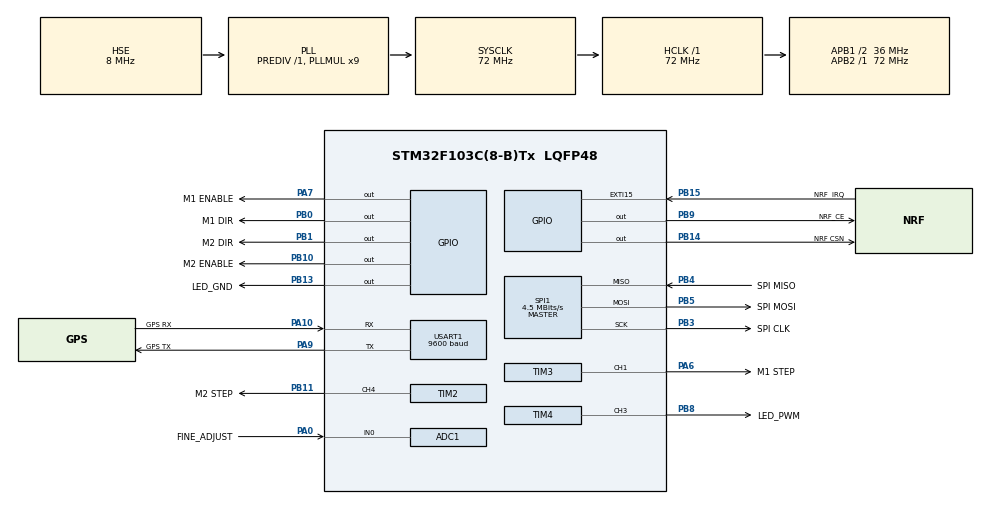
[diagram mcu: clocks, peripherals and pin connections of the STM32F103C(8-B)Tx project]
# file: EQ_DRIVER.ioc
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ADC1.Channel-10\#ChannelRegularConversion=ADC_CHANNEL_0
ADC1.Channel-11\#ChannelRegularConversion=ADC_CHANNEL_0
ADC1.Channel-12\#ChannelRegularConversion=ADC_CHANNEL_0
ADC1.Channel-13\#ChannelRegularConversion=ADC_CHANNEL_0
ADC1.Channel-14\#ChannelRegularConversion=ADC_CHANNEL_0
ADC1.Channel-15\#ChannelRegularConversion=ADC_CHANNEL_0
ADC1.Channel-16\#ChannelRegularConversion=ADC_CHANNEL_0
ADC1.Channel-17\#ChannelRegularConversion=ADC_CHANNEL_0
ADC1.Channel-18\#ChannelRegularConversion=ADC_CHANNEL_0
ADC1.Channel-19\#ChannelRegularConversion=ADC_CHANNEL_0
ADC1.Channel-20\#ChannelRegularConversion=ADC_CHANNEL_0
ADC1.Channel-5\#ChannelRegularConversion=ADC_CHANNEL_0
ADC1.Channel-6\#ChannelRegularConversion=ADC_CHANNEL_0
ADC1.Channel-7\#ChannelRegularConversion=ADC_CHANNEL_0
ADC1.Channel-8\#ChannelRegularConversion=ADC_CHANNEL_0
ADC1.Channel-9\#ChannelRegularConversion=ADC_CHANNEL_0
ADC1.ContinuousConvMode=ENABLE
ADC1.NbrOfConversion=16
ADC1.NbrOfConversionFlag=1
ADC1.Rank-10\#ChannelRegularConversion=6
ADC1.Rank-11\#ChannelRegularConversion=7
ADC1.Rank-12\#ChannelRegularConversion=8
ADC1.Rank-13\#ChannelRegularConversion=9
ADC1.Rank-14\#ChannelRegularConversion=10
ADC1.Rank-15\#ChannelRegularConversion=11
ADC1.Rank-16\#ChannelRegularConversion=12
ADC1.Rank-17\#ChannelRegularConversion=13
ADC1.Rank-18\#ChannelRegularConversion=14
ADC1.Rank-19\#ChannelRegularConversion=15
ADC1.Rank-20\#ChannelRegularConversion=16
ADC1.Rank-5\#ChannelRegularConversion=1
ADC1.Rank-6\#ChannelRegularConversion=2
ADC1.Rank-7\#ChannelRegularConversion=3
ADC1.Rank-8\#ChannelRegularConversion=4
ADC1.Rank-9\#ChannelRegularConversion=5
ADC1.SamplingTime-10\#ChannelRegularConversion=ADC_SAMPLETIME_1CYCLE_5
ADC1.SamplingTime-11\#ChannelRegularConversion=ADC_SAMPLETIME_1CYCLE_5
ADC1.SamplingTime-12\#ChannelRegularConversion=ADC_SAMPLETIME_1CYCLE_5
ADC1.SamplingTime-13\#ChannelRegularConversion=ADC_SAMPLETIME_1CYCLE_5
ADC1.SamplingTime-14\#ChannelRegularConversion=ADC_SAMPLETIME_1CYCLE_5
ADC1.SamplingTime-15\#ChannelRegularConversion=ADC_SAMPLETIME_1CYCLE_5
ADC1.SamplingTime-16\#ChannelRegularConversion=ADC_SAMPLETIME_1CYCLE_5
ADC1.SamplingTime-17\#ChannelRegularConversion=ADC_SAMPLETIME_1CYCLE_5
ADC1.SamplingTime-18\#ChannelRegularConversion=ADC_SAMPLETIME_1CYCLE_5
ADC1.SamplingTime-19\#ChannelRegularConversion=ADC_SAMPLETIME_1CYCLE_5
ADC1.SamplingTime-20\#ChannelRegularConversion=ADC_SAMPLETIME_1CYCLE_5
ADC1.SamplingTime-5\#ChannelRegularConversion=ADC_SAMPLETIME_1CYCLE_5
ADC1.SamplingTime-6\#ChannelRegularConversion=ADC_SAMPLETIME_1CYCLE_5
ADC1.SamplingTime-7\#ChannelRegularConversion=ADC_SAMPLETIME_1CYCLE_5
ADC1.SamplingTime-8\#ChannelRegularConversion=ADC_SAMPLETIME_1CYCLE_5
ADC1.SamplingTime-9\#ChannelRegularConversion=ADC_SAMPLETIME_1CYCLE_5
ADC1.master=1
Mcu.Family=STM32F1
Mcu.Name=STM32F103C(8-B)Tx
Mcu.Package=LQFP48
NVIC.EXTI15_10_IRQn=true\:0\:0\:false\:false\:true\:true\:true\:true
NVIC.PriorityGroup=NVIC_PRIORITYGROUP_4
NVIC.RCC_IRQn=true\:0\:0\:false\:false\:true\:true\:false\:true
NVIC.TIM1_UP_IRQn=true\:0\:0\:false\:false\:true\:false\:true\:true
NVIC.TIM2_IRQn=true\:0\:0\:false\:false\:true\:true\:true\:true
NVIC.TIM3_IRQn=true\:0\:0\:false\:false\:true\:true\:true\:true
NVIC.TimeBase=TIM1_UP_IRQn
NVIC.TimeBaseIP=TIM1
NVIC.USART1_IRQn=true\:0\:0\:false\:false\:true\:true\:true\:true
PA0-WKUP.GPIO_Label=FINE_ADJUST
PA0-WKUP.Signal=ADCx_IN0
PA10.GPIO_Label=GPS RX
PA10.Mode=Asynchronous
PA10.Signal=USART1_RX
PA13.GPIO_Label=SWDIO
PA13.Mode=Serial_Wire
PA13.Signal=SYS_JTMS-SWDIO
PA14.GPIO_Label=SWCLK
PA14.Mode=Serial_Wire
PA14.Signal=SYS_JTCK-SWCLK
PA6.GPIO_Label=M1 STEP
PA6.Signal=S_TIM3_CH1
PA7.GPIO_Label=M1 ENABLE
PA7.GPIO_PuPd=GPIO_NOPULL
PA7.Signal=GPIO_Output
PA9.GPIO_Label=GPS TX
PA9.Mode=Asynchronous
PA9.Signal=USART1_TX
PB0.GPIO_Label=M1 DIR
PB0.Signal=GPIO_Output
PB1.GPIO_Label=M2 DIR
PB1.Signal=GPIO_Output
PB10.GPIO_Label=M2 ENABLE
PB10.Signal=GPIO_Output
PB11.GPIO_Label=M2 STEP
PB11.Signal=S_TIM2_CH4
PB13.GPIO_Label=LED_GND
PB13.GPIO_ModeDefaultOutputPP=GPIO_MODE_OUTPUT_PP
PB13.GPIO_PuPd=GPIO_PULLDOWN
PB13.Signal=GPIO_Output
PB14.GPIO_Label=NRF CSN
PB14.GPIO_PuPd=GPIO_PULLDOWN
PB14.GPIO_Speed=GPIO_SPEED_FREQ_HIGH
PB14.PinState=GPIO_PIN_SET
PB14.Signal=GPIO_Output
PB15.GPIO_Label=NRF  IRQ
PB15.GPIO_ModeDefaultEXTI=GPIO_MODE_IT_FALLING
PB15.Signal=GPXTI15
PB3.GPIO_Label=SPI CLK
PB3.Mode=Full_Duplex_Master
PB3.Signal=SPI1_SCK
PB4.GPIO_Label=SPI MISO
PB4.Mode=Full_Duplex_Master
PB4.Signal=SPI1_MISO
PB5.GPIO_Label=SPI MOSI
PB5.Mode=Full_Duplex_Master
PB5.Signal=SPI1_MOSI
PB8.GPIO_Label=LED_PWM
PB8.Signal=S_TIM4_CH3
PB9.GPIO_Label=NRF_CE
PB9.Signal=GPIO_Output
PD0-OSC_IN.Mode=HSE-External-Oscillator
PD0-OSC_IN.Signal=RCC_OSC_IN
PD1-OSC_OUT.Mode=HSE-External-Oscillator
PD1-OSC_OUT.Signal=RCC_OSC_OUT
ProjectManager.HeapSize=0x200
ProjectManager.StackSize=0x400
ProjectManager.TargetToolchain=STM32CubeIDE
RCC.ADCPresc=RCC_ADCPCLK2_DIV6
RCC.AHBFreq_Value=72000000
RCC.APB1CLKDivider=RCC_HCLK_DIV2
RCC.APB1Freq_Value=36000000
RCC.APB1TimFreq_Value=72000000
RCC.APB2Freq_Value=72000000
RCC.APB2TimFreq_Value=72000000
RCC.HCLKFreq_Value=72000000
RCC.PLLMUL=RCC_PLL_MUL9
RCC.PLLSourceVirtual=RCC_PLLSOURCE_HSE
RCC.RTCClockSelection=RCC_RTCCLKSOURCE_HSE_DIV128
RCC.SYSCLKFreq_VALUE=72000000
RCC.SYSCLKSource=RCC_SYSCLKSOURCE_PLLCLK
RCC.USBFreq_Value=72000000
SH.ADCx_IN0.0=ADC1_IN0,IN0
SH.S_TIM2_CH4.0=TIM2_CH4,PWM Generation4 CH4
SH.S_TIM3_CH1.0=TIM3_CH1,PWM Generation1 CH1
SH.S_TIM4_CH3.0=TIM4_CH3,PWM Generation3 CH3
SPI1.BaudRatePrescaler=SPI_BAUDRATEPRESCALER_16
SPI1.CalculateBaudRate=4.5 MBits/s
SPI1.Direction=SPI_DIRECTION_2LINES
SPI1.FirstBit=SPI_FIRSTBIT_MSB
SPI1.Mode=SPI_MODE_MASTER
SPI1.VirtualType=VM_MASTER
TIM2.Channel-PWM\ Generation4\ CH4=TIM_CHANNEL_4
TIM2.Period=28125 - 1
TIM2.Prescaler=360 - 1
TIM3.Channel-PWM\ Generation1\ CH1=TIM_CHANNEL_1
TIM3.Period=28125 -1
TIM3.Prescaler=360 - 1
TIM4.Channel-PWM\ Generation3\ CH3=TIM_CHANNEL_3
TIM4.Period=4000 - 1
TIM4.Prescaler=36000 - 1
USART1.BaudRate=9600
USART1.VirtualMode=VM_ASYNC
VP_SYS_VS_tim1.Mode=TIM1
VP_TIM2_VS_ClockSourceINT.Mode=Internal
board=custom

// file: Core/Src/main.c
/* USER CODE BEGIN Header */
/**
 ******************************************************************************
 * @file           : main.c
 * @brief          : Main program body
 ******************************************************************************
 * @attention
 *
 * Copyright (c) 2022 STMicroelectronics.
 * All rights reserved.
 *
 * This software is licensed under terms that can be found in the LICENSE file
 * in the root directory of this software component.
 * If no LICENSE file comes with this software, it is provided AS-IS.
 *
 ******************************************************************************
 */
/* USER CODE END Header */
#include "main.h"
#include "adc.h"
#include "spi.h"
#include "tim.h"
#include "usart.h"
#include "gpio.h"

/* USER CODE BEGIN Includes */

#include "variables.h"
#include "steppers.h"
#include "astro_conv.h"
#include "astro_targets.h"
#include "PA6H.h"
#include "nrf24l01p.h"

/* USER CODE END Includes */

/* USER CODE BEGIN PD */
#define EQM_RF_CHANNEL 0
#define PLD_LEN 32
/* USER CODE END PD */

/* USER CODE BEGIN PV */

/**
 * @brief menu options enum
 */
enum menu_options {
	DEC_ = 0,
	RA,
	hemisphere,
	automatic_mode,
	manual_mode,
	MENU_SIZE, //must be the last value
};

struct {
	int16_t DEC;
	uint16_t RA;

	bool hemisphere;
	bool automatic_mode;
	bool manual_mode;
} menu_values = {0};

GNSS_data_t* GNSS;

/* USER CODE END PV */

void SystemClock_Config(void);

/* USER CODE BEGIN PFP */

void nRF24_RX_ESB_setup(const uint8_t* addr);
/* USER CODE END PFP */

/* USER CODE BEGIN 0 */
void HAL_UART_RxCpltCallback(UART_HandleTypeDef* huart) {
	if (huart == &huart1) {
		if (GNSS_UART_CallBack(GNSS)) {
			astro_update_LMST();
		}
	}
}

/* USER CODE END 0 */

int main(void) {

    /* MCU Configuration--------------------------------------------------------*/

    /* Reset of all peripherals, Initializes the Flash interface and the Systick. */
    HAL_Init();

    /* Configure the system clock */
    SystemClock_Config();

    /* USER CODE BEGIN SysInit */
    GNSS = astro_get_gnss_pointer();
    HAL_Delay(1000);
    /* USER CODE END SysInit */

    /* Initialize all configured peripherals */
    MX_GPIO_Init();
    MX_TIM2_Init();
    MX_ADC1_Init();
    MX_TIM3_Init();
    MX_USART1_UART_Init();
    MX_SPI1_Init();
    MX_TIM4_Init();
    /* USER CODE BEGIN 2 */

    bool is_connected = false;
    const uint8_t init_payload[] = "INIT";
    const uint8_t ack_pld[PLD_LEN] = "ACK";
    static const uint8_t nRF24_ADDR[] = "EQM0";
    uint8_t recv_payload[PLD_LEN] = {0};
    uint8_t pld_len;

    nRF24_RX_ESB_setup(nRF24_ADDR);
    GNSS_init();
    astro_init();
    led_start_blink();
    led_set_fast_blink(); /**< No NRF24 detected. */

    /** Ensure NRF24L01 connection. */
    while (!nRF24_check(nRF24_ADDR)) {
        /** Wait for NRF presence. */
        nRF24_RX_ESB_setup(nRF24_ADDR);
        HAL_Delay(100);
    }

    nRF24_StartListening();
    while (!is_connected) {
        led_set_slow_blink(); /**< No controller detected. */
        while (!get_flag(NRF_RECEIVE)) {
            /** Wait for controller connection. */

            HAL_Delay(10);
        }
        clear_flag(NRF_RECEIVE);

        led_set_always_on(); /**< Confirmation pending. */
        if (nRF24_GetData(recv_payload, &pld_len)) {
            is_connected = true;
            for (uint8_t i = 0; i < 5; i++) {
                if (recv_payload[i] != init_payload[i]) {
                    is_connected = false;
                }
            }
        }
    }
    led_set_slow_fast_blink();

    bool flag = true;

    astro_release();
    /* USER CODE END 2 */

    /* Infinite loop */
    while (1) {

        /* USER CODE BEGIN 3 */

        astro_update_raw_fine_adjusts();

        if (flag) {
            astro_go_home();
        }

        while (astro_get_gnss_pointer()->is_valid != VALID_DATA) {
            /** Wait for GNSS fix. */
        }

        if (flag) {
            astro_update_target(astro_target[JUPITER]);
            astro_goto_target();
            flag = false;
        }

    }
    /* USER CODE END 3 */
}

void SystemClock_Config(void) {
    RCC_OscInitTypeDef RCC_OscInitStruct = {0};
    RCC_ClkInitTypeDef RCC_ClkInitStruct = {0};
    RCC_PeriphCLKInitTypeDef PeriphClkInit = {0};

    /** Initializes the RCC Oscillators according to the specified parameters
    * in the RCC_OscInitTypeDef structure.
    */
    RCC_OscInitStruct.OscillatorType = RCC_OSCILLATORTYPE_HSE;
    RCC_OscInitStruct.HSEState = RCC_HSE_ON;
    RCC_OscInitStruct.HSEPredivValue = RCC_HSE_PREDIV_DIV1;
    RCC_OscInitStruct.HSIState = RCC_HSI_ON;
    RCC_OscInitStruct.PLL.PLLState = RCC_PLL_ON;
    RCC_OscInitStruct.PLL.PLLSource = RCC_PLLSOURCE_HSE;
    RCC_OscInitStruct.PLL.PLLMUL = RCC_PLL_MUL9;
    if (HAL_RCC_OscConfig(&RCC_OscInitStruct) != HAL_OK) {
        Error_Handler();
    }

    /** Initializes the CPU, AHB and APB buses clocks
    */
    RCC_ClkInitStruct.ClockType = RCC_CLOCKTYPE_HCLK | RCC_CLOCKTYPE_SYSCLK
                                  | RCC_CLOCKTYPE_PCLK1 | RCC_CLOCKTYPE_PCLK2;
    RCC_ClkInitStruct.SYSCLKSource = RCC_SYSCLKSOURCE_PLLCLK;
    RCC_ClkInitStruct.AHBCLKDivider = RCC_SYSCLK_DIV1;
    RCC_ClkInitStruct.APB1CLKDivider = RCC_HCLK_DIV2;
    RCC_ClkInitStruct.APB2CLKDivider = RCC_HCLK_DIV1;

    if (HAL_RCC_ClockConfig(&RCC_ClkInitStruct, FLASH_LATENCY_2) != HAL_OK) {
        Error_Handler();
    }
    PeriphClkInit.PeriphClockSelection = RCC_PERIPHCLK_ADC;
    PeriphClkInit.AdcClockSelection = RCC_ADCPCLK2_DIV6;
    if (HAL_RCCEx_PeriphCLKConfig(&PeriphClkInit) != HAL_OK) {
        Error_Handler();
    }
}

/* USER CODE BEGIN 4 */
void nRF24_RX_ESB_setup(const uint8_t* addr) {

    // Do the initial configurations.
    nRF24_init(addr, EQM_RF_CHANNEL);

    nRF24_SetOperationalMode(nRF24_MODE_RX);
}

/* USER CODE END 4 */

void HAL_TIM_PeriodElapsedCallback(TIM_HandleTypeDef* htim) {
    if (htim->Instance == TIM1) {
        HAL_IncTick();
    }
}

void Error_Handler(void) {
    /* USER CODE BEGIN Error_Handler_Debug */
    /* User can add his own implementation to report the HAL error return state */
    __disable_irq();
    while (1);
    /* USER CODE END Error_Handler_Debug */
}

#ifdef  USE_FULL_ASSERT
/**
  * @brief  Reports the name of the source file and the source line number
  *         where the assert_param error has occurred.
  * @param  file: pointer to the source file name
  * @param  line: assert_param error line source number
  * @retval None
  */
void assert_failed(uint8_t *file, uint32_t line)
{
  /* USER CODE BEGIN 6 */
  /* User can add his own implementation to report the file name and line
	 number, ex: printf("Wrong parameters value: file %s on line %d\r\n", file,
	 line) */
  /* USER CODE END 6 */
}
#endif /* USE_FULL_ASSERT */
